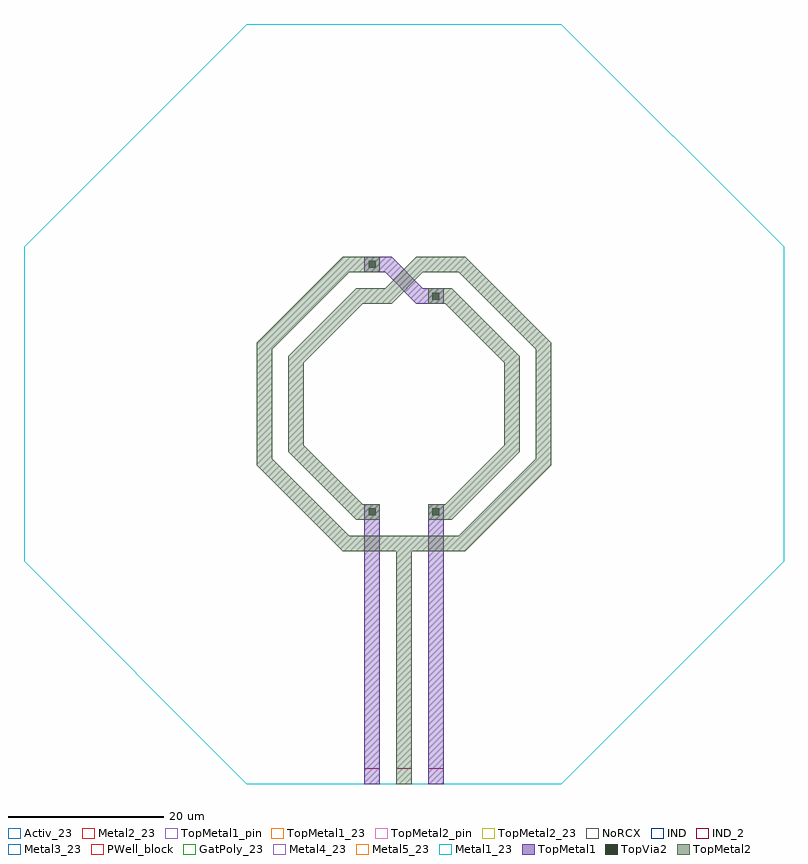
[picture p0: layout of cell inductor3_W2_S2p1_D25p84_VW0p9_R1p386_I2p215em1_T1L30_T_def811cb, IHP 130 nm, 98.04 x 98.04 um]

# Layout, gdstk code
import gdstk
lib = gdstk.Library(unit=1e-6, precision=1e-09)
def R(c, l, rs):  # rectangles x0, y0, x1, y1
    for r in rs: c.add(gdstk.rectangle(r[:2], r[2:], *l))
def P(c, l, *ps):  # polygons
    for p in ps: c.add(gdstk.Polygon(p, *l))
Activ_23 = (1, 23)
GatPoly_23 = (5, 23)
Metal1_23 = (8, 23)
Metal2_23 = (10, 23)
IND = (27, 0)
IND_2 = (27, 2)
Metal3_23 = (30, 23)
PWell_block = (46, 21)
Metal4_23 = (50, 23)
Metal5_23 = (67, 23)
TopMetal1 = (126, 0)
TopMetal1_pin = (126, 2)
TopMetal1_23 = (126, 23)
TopVia2 = (133, 0)
TopMetal2 = (134, 0)
TopMetal2_pin = (134, 2)
TopMetal2_23 = (134, 23)
NoRCX = (148, 0)

rectangle_gdsfactorypcom = lib.new_cell('rectangle_gdsfactorypcomponentspshapesprectangle_S2_30__9b4a582f')
R(rectangle_gdsfactorypcom, TopMetal2, [(0,0,2,30)])

c_rectangle_gdsfactorypcom = lib.new_cell('rectangle_gdsfactorypcomponentspshapesprectangle_S2_2_L_ef4d5838')
R(c_rectangle_gdsfactorypcom, TopMetal2_pin, [(0,0,2,2)])

c_rectangle_gdsfactorypcom_ = lib.new_cell('rectangle_gdsfactorypcomponentspshapesprectangle_S2_2_L_b543f7ed')
R(c_rectangle_gdsfactorypcom_, IND_2, [(0,0,2,2)])

c_rectangle_gdsfactorypcom__ = lib.new_cell('rectangle_gdsfactorypcomponentspshapesprectangle_S2_36p_6f803a44')
R(c_rectangle_gdsfactorypcom__, TopMetal1, [(0,0,2,36.1)])

c_rectangle_gdsfactorypcom___ = lib.new_cell('rectangle_gdsfactorypcomponentspshapesprectangle_S2_2_L_c82b7716')
R(c_rectangle_gdsfactorypcom___, TopMetal1_pin, [(0,0,2,2)])

unnamed_262 = lib.new_cell('Unnamed_262')
P(unnamed_262, TopMetal2, [(-6.18,34.1),(-14.92,42.84),(-14.92,55.2),(-6.18,63.94),(-3.1,63.94),(-3.1,61.94),(-5.352,61.94),(-12.92,54.372),(-12.92,43.668),(-5.352,36.1),(-3.1,36.1),(-3.1,34.1)])

unnamed_263 = lib.new_cell('Unnamed_263')
P(unnamed_263, TopMetal2, [(3.1,34.1),(3.1,36.1),(5.352,36.1),(12.92,43.668),(12.92,54.372),(5.352,61.94),(3.1,61.94),(3.1,63.94),(6.18,63.94),(14.92,55.2),(14.92,42.84),(6.18,34.1)])

unnamed_264 = lib.new_cell('Unnamed_264')
P(unnamed_264, TopMetal2, [(-7.878,30),(-19.02,41.142),(-19.02,56.898),(-7.878,68.04),(-3.1,68.04),(-3.1,66.04),(-7.05,66.04),(-17.02,56.07),(-17.02,41.97),(-7.05,32),(-3.1,32),(-3.1,30)])

unnamed_265 = lib.new_cell('Unnamed_265')
P(unnamed_265, TopMetal2, [(3.1,30),(3.1,32),(7.05,32),(17.02,41.97),(17.02,56.07),(7.05,66.04),(3.1,66.04),(3.1,68.04),(7.878,68.04),(19.02,56.898),(19.02,41.142),(7.878,30)])

unnamed_266 = lib.new_cell('Unnamed_266')
R(unnamed_266, TopMetal2, [(-3.1,30,3.1,32)])

unnamed_267 = lib.new_cell('Unnamed_267')
P(unnamed_267, TopMetal2, [(-3.1,61.94),(-3.1,63.94),(-2.421,63.94),(1.579,68.04),(3.1,68.04),(3.1,66.04),(2.421,66.04),(-1.579,61.94)])

unnamed_268 = lib.new_cell('Unnamed_268')
P(unnamed_268, TopMetal1, [(1.579,61.94),(-2.421,66.04),(-5.1,66.04),(-5.1,68.04),(-1.579,68.04),(2.421,63.94),(5.1,63.94),(5.1,61.94)])

c_rectangle_gdsfactorypcom____ = lib.new_cell('rectangle_gdsfactorypcomponentspshapesprectangle_S0p9_0_c2a1d6bb')
R(c_rectangle_gdsfactorypcom____, TopVia2, [(0,0,0.9,0.9)])

inductor3_w2_s2p1_d25p84 = lib.new_cell('inductor3_W2_S2p1_D25p84_VW0p9_R1p386_I2p215em1_T1L30_T_def811cb')
P(inductor3_w2_s2p1_d25p84, Activ_23, [(-20.305,0),(-49.02,28.715),(-49.02,69.325),(-20.305,98.04),(20.305,98.04),(49.02,69.325),(49.02,28.715),(20.305,0)])
P(inductor3_w2_s2p1_d25p84, GatPoly_23, [(-20.305,0),(-49.02,28.715),(-49.02,69.325),(-20.305,98.04),(20.305,98.04),(49.02,69.325),(49.02,28.715),(20.305,0)])
P(inductor3_w2_s2p1_d25p84, Metal1_23, [(-20.305,0),(-49.02,28.715),(-49.02,69.325),(-20.305,98.04),(20.305,98.04),(49.02,69.325),(49.02,28.715),(20.305,0)])
P(inductor3_w2_s2p1_d25p84, Metal2_23, [(-20.305,0),(-49.02,28.715),(-49.02,69.325),(-20.305,98.04),(20.305,98.04),(49.02,69.325),(49.02,28.715),(20.305,0)])
P(inductor3_w2_s2p1_d25p84, IND, [(-20.305,0),(-49.02,28.715),(-49.02,69.325),(-20.305,98.04),(20.305,98.04),(49.02,69.325),(49.02,28.715),(20.305,0)])
P(inductor3_w2_s2p1_d25p84, Metal3_23, [(-20.305,0),(-49.02,28.715),(-49.02,69.325),(-20.305,98.04),(20.305,98.04),(49.02,69.325),(49.02,28.715),(20.305,0)])
P(inductor3_w2_s2p1_d25p84, PWell_block, [(-20.305,0),(-49.02,28.715),(-49.02,69.325),(-20.305,98.04),(20.305,98.04),(49.02,69.325),(49.02,28.715),(20.305,0)])
P(inductor3_w2_s2p1_d25p84, Metal4_23, [(-20.305,0),(-49.02,28.715),(-49.02,69.325),(-20.305,98.04),(20.305,98.04),(49.02,69.325),(49.02,28.715),(20.305,0)])
P(inductor3_w2_s2p1_d25p84, Metal5_23, [(-20.305,0),(-49.02,28.715),(-49.02,69.325),(-20.305,98.04),(20.305,98.04),(49.02,69.325),(49.02,28.715),(20.305,0)])
P(inductor3_w2_s2p1_d25p84, TopMetal1_23, [(-20.305,0),(-49.02,28.715),(-49.02,69.325),(-20.305,98.04),(20.305,98.04),(49.02,69.325),(49.02,28.715),(20.305,0)])
P(inductor3_w2_s2p1_d25p84, TopMetal2_23, [(-20.305,0),(-49.02,28.715),(-49.02,69.325),(-20.305,98.04),(20.305,98.04),(49.02,69.325),(49.02,28.715),(20.305,0)])
P(inductor3_w2_s2p1_d25p84, NoRCX, [(-20.305,0),(-49.02,28.715),(-49.02,69.325),(-20.305,98.04),(20.305,98.04),(49.02,69.325),(49.02,28.715),(20.305,0)])
inductor3_w2_s2p1_d25p84.add(gdstk.Reference(rectangle_gdsfactorypcom, (-1,0)))
inductor3_w2_s2p1_d25p84.add(gdstk.Reference(c_rectangle_gdsfactorypcom, (-1,0)))
inductor3_w2_s2p1_d25p84.add(gdstk.Reference(c_rectangle_gdsfactorypcom_, (-1,0)))
inductor3_w2_s2p1_d25p84.add(gdstk.Reference(c_rectangle_gdsfactorypcom__, (-5.1,0)))
inductor3_w2_s2p1_d25p84.add(gdstk.Reference(c_rectangle_gdsfactorypcom___, (-5.1,0)))
inductor3_w2_s2p1_d25p84.add(gdstk.Reference(c_rectangle_gdsfactorypcom_, (-5.1,0)))
inductor3_w2_s2p1_d25p84.add(gdstk.Reference(c_rectangle_gdsfactorypcom__, (3.1,0)))
inductor3_w2_s2p1_d25p84.add(gdstk.Reference(c_rectangle_gdsfactorypcom___, (3.1,0)))
inductor3_w2_s2p1_d25p84.add(gdstk.Reference(c_rectangle_gdsfactorypcom_, (3.1,0)))
inductor3_w2_s2p1_d25p84.add(gdstk.Reference(unnamed_262, (0,0)))
inductor3_w2_s2p1_d25p84.add(gdstk.Reference(unnamed_263, (0,0)))
inductor3_w2_s2p1_d25p84.add(gdstk.Reference(unnamed_264, (0,0)))
inductor3_w2_s2p1_d25p84.add(gdstk.Reference(unnamed_265, (0,0)))
inductor3_w2_s2p1_d25p84.add(gdstk.Reference(unnamed_266, (0,0)))
inductor3_w2_s2p1_d25p84.add(gdstk.Reference(unnamed_267, (0,0)))
inductor3_w2_s2p1_d25p84.add(gdstk.Reference(unnamed_268, (0,0)))
inductor3_w2_s2p1_d25p84.add(gdstk.Reference(c_rectangle_gdsfactorypcom____, (-4.55,66.59)))
inductor3_w2_s2p1_d25p84.add(gdstk.Reference(c_rectangle_gdsfactorypcom____, (3.65,62.49)))
inductor3_w2_s2p1_d25p84.add(gdstk.Reference(c_rectangle_gdsfactorypcom____, (-4.55,34.65)))
inductor3_w2_s2p1_d25p84.add(gdstk.Reference(c_rectangle_gdsfactorypcom____, (3.65,34.65)))

lib.write_gds('inductor3_W2_S2p1_D25p84_VW0p9_R1p386_I2p215em1_T1L30_T_def811cb.gds')
